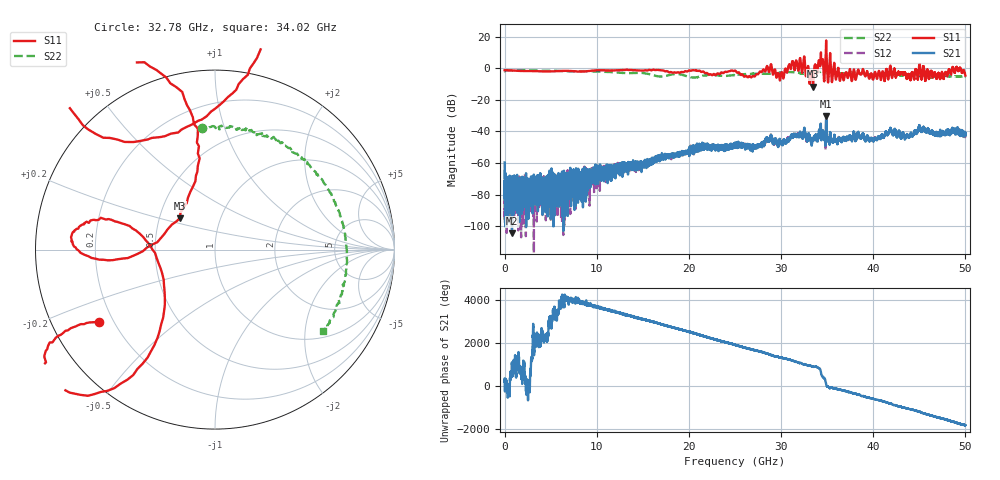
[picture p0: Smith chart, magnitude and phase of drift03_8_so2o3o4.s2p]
!Created with skrf (http://scikit-rf.org).
# Hz S RI R 50.0
!freq ReS11 ImS11 ReS21 ImS21 ReS12 ImS12 ReS22 ImS22
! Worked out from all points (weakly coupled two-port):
!   10001 points, 300 kHz to 50 GHz, reference 50 ohm
!   highest |S21| = -30.15 dB at 34.89 GHz (marker M1); lowest = -104.4 dB at 800.3 MHz (marker M2)
!   lowest |S11| = -11.6 dB at 33.47 GHz (marker M3), VSWR 1.71, Z = 31.8 + j11.9 ohm
!   |S11| at or under -10 dB: 33.44252 GHz to 33.48815 GHz (45.63 MHz wide, 0.136 % of centre)
!   |S22| runs from -6.0 to -1.3 dB; largest |S21 - S12| = 0.006
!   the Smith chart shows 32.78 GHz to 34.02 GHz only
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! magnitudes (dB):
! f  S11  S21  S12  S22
! 300 kHz  -1.3  -59.6  -64.3  -2.1
! 255.3 MHz  -1.3  -75.3  -74.3  -1.4
! 800.3 MHz  -1.5  -104.4  -78.3  -1.5
! 5.325 GHz  -2.0  -69.3  -89.1  -1.6
! 8.335 GHz  -2.2  -71.7  -65.5  -1.9
! 16.67 GHz  -1.1  -56.8  -56.6  -5.2
! 25 GHz  -1.6  -49.3  -47.8  -4.3
! 26.92 GHz  -4.9  -52.7  -49.9  -3.6
! 28.73 GHz  -2.3  -45.1  -46.5  -3.5
! 30.06 GHz  -2.5  -47.7  -47.0  -2.9
! 31.87 GHz  -1.6  -42.6  -42.2  -2.9
! 33.34 GHz  -2.2  -47.1  -47.5  -2.9
! 33.47 GHz  -11.6  -44.9  -45.1  -2.8
! 34.3 GHz  7.1  -35.5  -35.1  -2.3
! 34.89 GHz  17.5  -30.1  -31.9  -2.4
! 36.59 GHz  -3.6  -45.5  -46.1  -3.6
! 40.17 GHz  -2.8  -44.5  -44.2  -3.7
! 41.67 GHz  -5.9  -41.0  -40.7  -3.6
! 45.21 GHz  -5.5  -39.2  -38.5  -4.6
! 47.07 GHz  -2.9  -41.0  -41.8  -5.1
! 49.22 GHz  -1.9  -38.4  -40.7  -5.1
! 50 GHz  -4.5  -40.9  -42.5  -5.0
